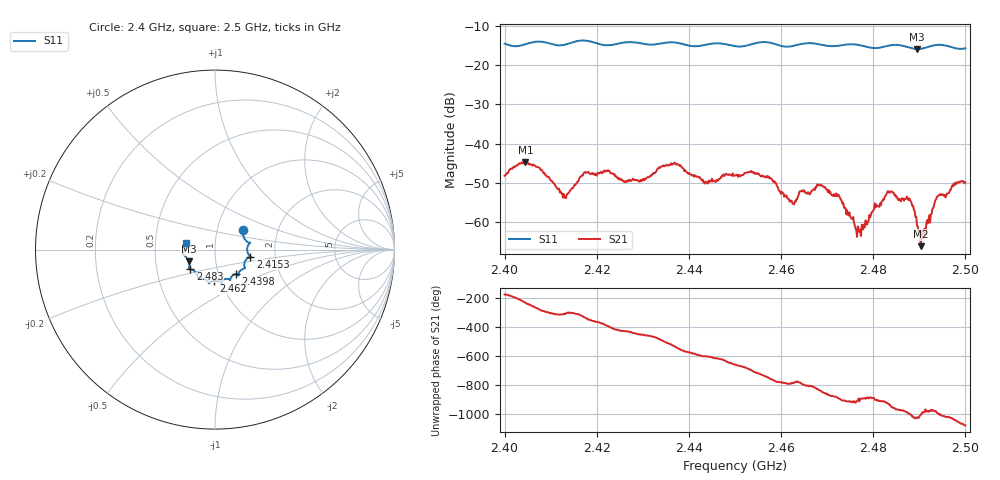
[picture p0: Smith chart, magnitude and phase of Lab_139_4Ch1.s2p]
# Hz S RI R 50
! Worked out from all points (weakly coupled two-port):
!   601 points, 2.4 GHz to 2.5 GHz, reference 50 ohm
!   highest |S21| = -44.73 dB at 2.4045 GHz (marker M1); lowest = -66.2 dB at 2.4903 GHz (marker M2)
!   lowest |S11| = -15.9 dB at 2.4895 GHz (marker M3), VSWR 1.38, Z = 37 - j5.01 ohm
!   |S11| at or under -10 dB: start of sweep to end of sweep
!   S12 and S22 are empty: the file has one direction only
!   S11 on the Smith chart (normalised r, x): 2.4 GHz: 1.33, +0.29; 2.4153 GHz: 1.48, -0.12; 2.4398 GHz: 1.21, -0.34; 2.462 GHz: 0.93, -0.33; 2.483 GHz: 0.74, -0.17; 2.5 GHz: 0.72, +0.06
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2.4e9  0.1551 0.1067  -0.00389 -0.000156  0 0  0 0
2.4045e9  0.1799 0.0436  -0.00341 0.00469  0 0  0 0
2.412833e9  0.1808 -0.0124  0.00151 0.0017  0 0  0 0
2.415333e9  0.1965 -0.0387  0.00189 0.00228  0 0  0 0
2.416667e9  0.2021 -0.0429  0.00313 0.00224  0 0  0 0
2.429333e9  0.1588 -0.1066  -7.22e-05 -0.00326  0 0  0 0
2.433333e9  0.1311 -0.1336  -0.00257 -0.00408  0 0  0 0
2.439833e9  0.1155 -0.1365  -0.00344 0.00229  0 0  0 0
2.443667e9  0.0868 -0.1605  -0.00153 0.0029  0 0  0 0
2.45e9  0.0649 -0.1628  0.00202 0.00337  0 0  0 0
2.457333e9  0.0387 -0.1912  0.00322 -0.00203  0 0  0 0
2.462e9  -0.00526 -0.1734  0.000582 -0.00173  0 0  0 0
2.466667e9  -0.0344 -0.1876  7.57e-05 -0.00249  0 0  0 0
2.4725e9  -0.0751 -0.1605  -0.00221 -0.000291  0 0  0 0
2.476833e9  -0.0959 -0.1541  -0.000811 -9.91e-05  0 0  0 0
2.483e9  -0.1375 -0.1095  -0.00218 0.000921  0 0  0 0
2.483333e9  -0.14 -0.1094  -0.00214 0.00121  0 0  0 0
2.487833e9  -0.1426 -0.0884  0.000296 0.00199  0 0  0 0
2.4895e9  -0.1462 -0.0661  0.000503 0.000753  0 0  0 0
2.490333e9  -0.1523 -0.0542  0.000134 0.000474  0 0  0 0
2.494e9  -0.1803 -0.0232  0.000217 0.00212  0 0  0 0
2.5e9  -0.1598 0.0392  0.00322 5.56e-05  0 0  0 0
